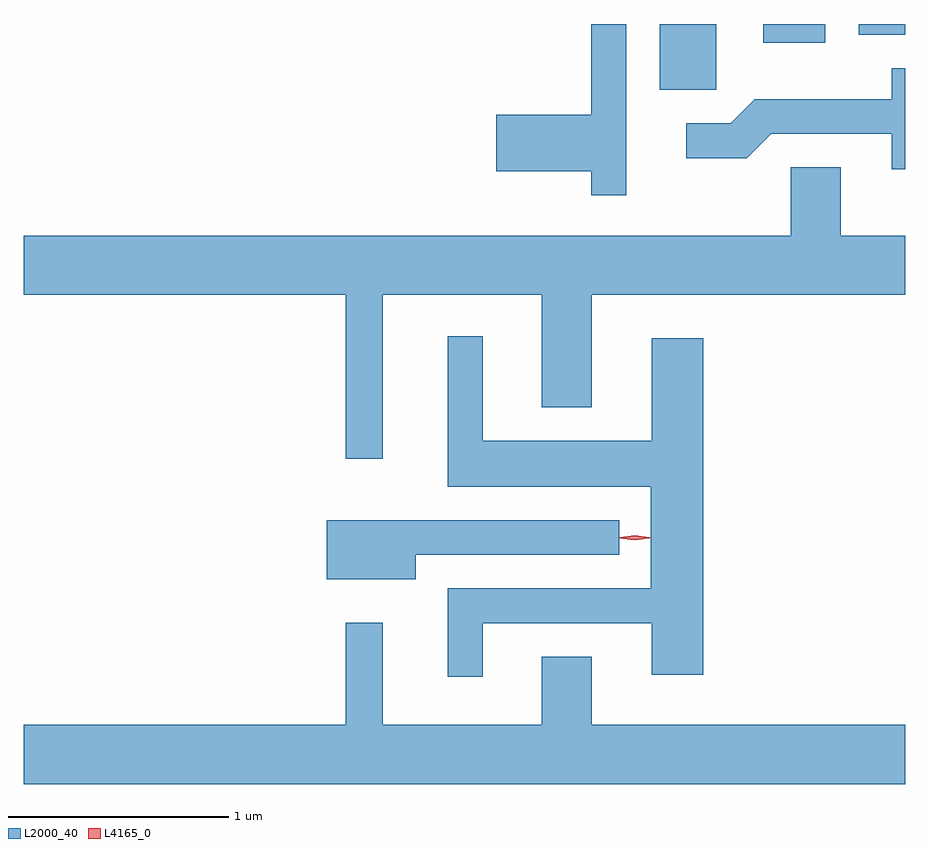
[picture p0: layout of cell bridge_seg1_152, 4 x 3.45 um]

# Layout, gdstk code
import gdstk
lib = gdstk.Library(unit=1e-6, precision=1e-09)
def R(c, l, rs):  # rectangles x0, y0, x1, y1
    for r in rs: c.add(gdstk.rectangle(r[:2], r[2:], *l))
def P(c, l, *ps):  # polygons
    for p in ps: c.add(gdstk.Polygon(p, *l))
L2000_40 = (2000, 40)
L4165_0 = (4165, 0)

bridge_seg1_152 = lib.new_cell('bridge_seg1_152')
R(bridge_seg1_152, L2000_40, [(912.006,964.886,912.264,965.185), (912.476,965.101,912.759,965.185), (912.911,965.136,913.121,965.185)])
P(bridge_seg1_152, L2000_40, [(911.854,965.185),(911.696,965.185),(911.696,964.774),(911.266,964.774),(911.266,964.516),(911.696,964.516),(911.696,964.408),(911.854,964.408)],
  [(913.121,964.984),(913.061,964.984),(913.061,964.844),(912.439,964.844),(912.329,964.734),(912.128,964.734),(912.128,964.576),(912.402,964.576),(912.512,964.686),(913.061,964.686),(913.061,964.526),(913.121,964.526)],
  [(910.749,963.956),(911.471,963.956),(911.471,963.446),(911.699,963.446),(911.699,963.956),(913.121,963.956),(913.121,964.224),(912.829,964.224),(912.829,964.534),(912.601,964.534),(912.601,964.224),(909.121,964.224),(909.121,963.956),(910.581,963.956),(910.581,963.213),(910.749,963.213)],
  [(911.204,962.466),(911.971,962.466),(911.971,962.231),(912.204,962.231),(912.204,963.759),(911.971,963.759),(911.971,963.294),(911.204,963.294),(911.204,963.768),(911.046,963.768),(911.046,963.086),(911.966,963.086),(911.966,962.624),(911.046,962.624),(911.046,962.223),(911.204,962.223)],
  [(910.899,962.776),(911.823,962.776),(911.823,962.934),(910.496,962.934),(910.496,962.666),(910.899,962.666)],
  [(913.121,962.004),(911.699,962.004),(911.699,962.314),(911.471,962.314),(911.471,962.004),(910.749,962.004),(910.749,962.468),(910.581,962.468),(910.581,962.004),(909.121,962.004),(909.121,961.736),(913.121,961.736)])
P(bridge_seg1_152, L4165_0, [(911.893,962.845),(911.827,962.854),(911.827,962.855),(911.827,962.855),(911.893,962.865),(911.959,962.855),(911.96,962.855),(911.959,962.854)],
  [(911.893,962.843),(911.824,962.852),(911.823,962.853),(911.824,962.854),(911.893,962.863),(911.962,962.854),(911.963,962.853),(911.962,962.852)])

lib.write_gds('bridge_seg1_152.gds')
